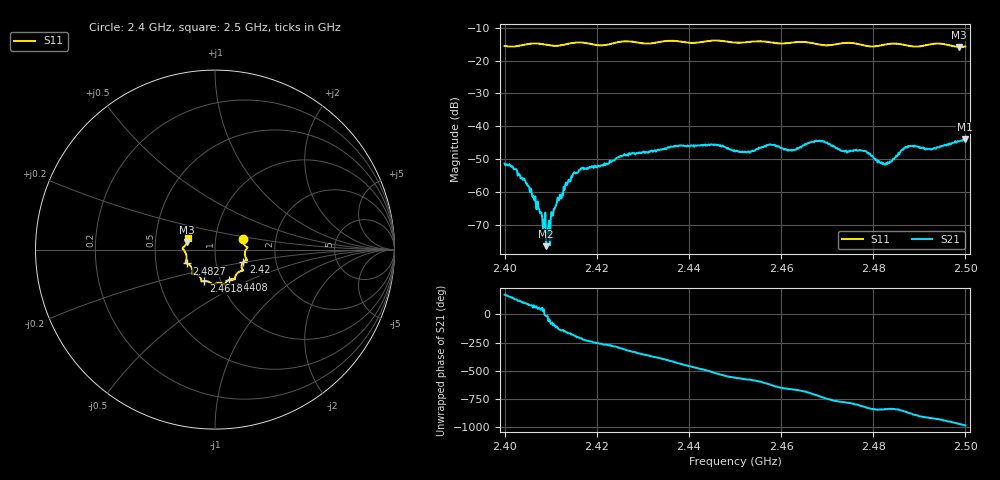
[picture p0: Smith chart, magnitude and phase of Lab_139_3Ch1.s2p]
# Hz S RI R 50
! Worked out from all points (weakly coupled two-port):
!   601 points, 2.4 GHz to 2.5 GHz, reference 50 ohm
!   highest |S21| = -43.94 dB at 2.4998 GHz (marker M1); lowest = -76.5 dB at 2.409 GHz (marker M2)
!   lowest |S11| = -15.9 dB at 2.4987 GHz (marker M3), VSWR 1.38, Z = 36.5 + j3.21 ohm
!   |S11| at or under -10 dB: start of sweep to end of sweep
!   S12 and S22 are empty: the file has one direction only
!   S11 on the Smith chart (normalised r, x): 2.4 GHz: 1.35, +0.17; 2.42 GHz: 1.36, -0.19; 2.4408 GHz: 1.10, -0.38; 2.4618 GHz: 0.84, -0.30; 2.4827 GHz: 0.72, -0.12; 2.5 GHz: 0.73, +0.09
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2.4e9  0.1552 0.0617  -0.0027 0.000187  0 0  0 0
2.404667e9  0.1754 0.0155  -0.000196 0.00135  0 0  0 0
2.409e9  0.1738 0.00308  0.000149 -2.25e-05  0 0  0 0
2.4095e9  0.1713 -0.00132  0.000165 -0.000271  0 0  0 0
2.411167e9  0.1662 -0.0199  -0.000279 -0.000562  0 0  0 0
2.413333e9  0.171 -0.0451  -0.00128 -0.000553  0 0  0 0
2.416667e9  0.1787 -0.0589  -0.00199 0.00116  0 0  0 0
2.42e9  0.1573 -0.0693  -0.000671 0.00227  0 0  0 0
2.433333e9  0.1122 -0.1529  0.00402 -0.00184  0 0  0 0
2.440833e9  0.078 -0.1685  -0.00146 -0.00484  0 0  0 0
2.45e9  0.0272 -0.1853  -0.00386 0.00147  0 0  0 0
2.457667e9  -0.0212 -0.1881  -0.00066 0.00529  0 0  0 0
2.461833e9  -0.0608 -0.1753  0.00233 0.00364  0 0  0 0
2.466667e9  -0.0765 -0.1682  0.00554 0.00164  0 0  0 0
2.478e9  -0.1256 -0.1146  -0.0007 -0.00414  0 0  0 0
2.482667e9  -0.1575 -0.0774  -0.00137 -0.00224  0 0  0 0
2.483333e9  -0.1615 -0.0763  -0.00132 -0.00241  0 0  0 0
2.4875e9  -0.1592 -0.0555  -0.00445 -0.00228  0 0  0 0
2.4925e9  -0.1774 0.002  -0.00418 0.00149  0 0  0 0
2.498667e9  -0.1549 0.0428  -0.00184 0.00559  0 0  0 0
2.499833e9  -0.1515 0.0601  -0.000684 0.00632  0 0  0 0
2.5e9  -0.1513 0.0624  -0.000479 0.00624  0 0  0 0
